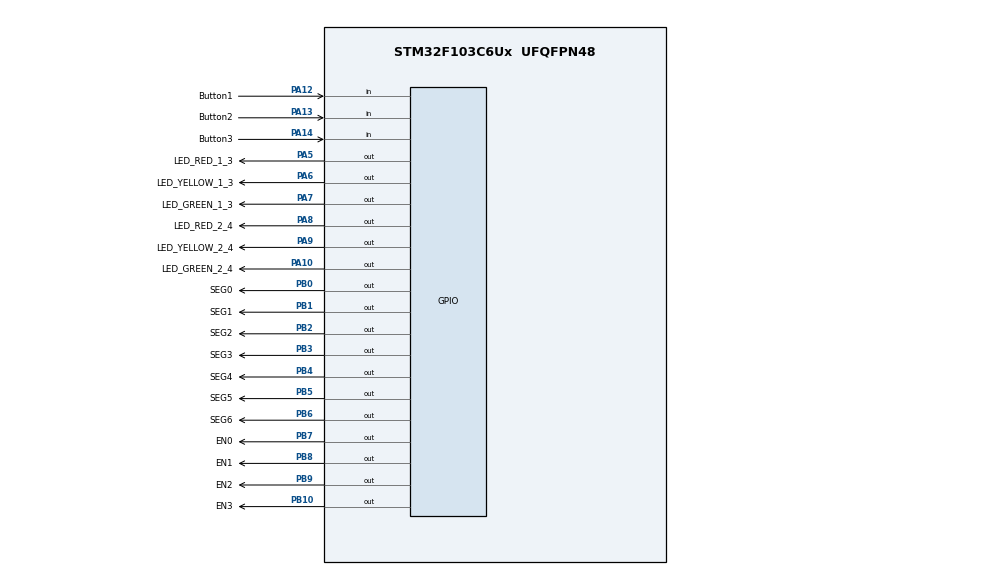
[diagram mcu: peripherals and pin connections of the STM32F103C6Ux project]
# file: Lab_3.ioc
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Mcu.Family=STM32F1
Mcu.Name=STM32F103C6Ux
Mcu.Package=UFQFPN48
NVIC.PriorityGroup=NVIC_PRIORITYGROUP_4
NVIC.TIM2_IRQn=true\:0\:0\:false\:false\:true\:true\:true
PA10.GPIO_Label=LED_GREEN_2_4
PA10.Signal=GPIO_Output
PA12.GPIO_Label=Button1
PA12.GPIO_PuPd=GPIO_PULLUP
PA12.Signal=GPIO_Input
PA13.GPIO_Label=Button2
PA13.GPIO_PuPd=GPIO_PULLUP
PA13.Signal=GPIO_Input
PA14.GPIO_Label=Button3
PA14.GPIO_PuPd=GPIO_PULLUP
PA14.Signal=GPIO_Input
PA5.GPIO_Label=LED_RED_1_3
PA5.Signal=GPIO_Output
PA6.GPIO_Label=LED_YELLOW_1_3
PA6.Signal=GPIO_Output
PA7.GPIO_Label=LED_GREEN_1_3
PA7.Signal=GPIO_Output
PA8.GPIO_Label=LED_RED_2_4
PA8.Signal=GPIO_Output
PA9.GPIO_Label=LED_YELLOW_2_4
PA9.Signal=GPIO_Output
PB0.GPIO_Label=SEG0
PB0.Signal=GPIO_Output
PB1.GPIO_Label=SEG1
PB1.Signal=GPIO_Output
PB10.GPIO_Label=EN3
PB10.Signal=GPIO_Output
PB2.GPIO_Label=SEG2
PB2.Signal=GPIO_Output
PB3.GPIO_Label=SEG3
PB3.Signal=GPIO_Output
PB4.GPIO_Label=SEG4
PB4.Signal=GPIO_Output
PB5.GPIO_Label=SEG5
PB5.Signal=GPIO_Output
PB6.GPIO_Label=SEG6
PB6.Signal=GPIO_Output
PB7.GPIO_Label=EN0
PB7.Signal=GPIO_Output
PB8.GPIO_Label=EN1
PB8.Signal=GPIO_Output
PB9.GPIO_Label=EN2
PB9.Signal=GPIO_Output
ProjectManager.HeapSize=0x200
ProjectManager.StackSize=0x400
ProjectManager.TargetToolchain=STM32CubeIDE
RCC.APB1Freq_Value=8000000
RCC.APB2Freq_Value=8000000
TIM2.Period=9
TIM2.Prescaler=7999
VP_SYS_VS_ND.Mode=No_Debug
VP_TIM2_VS_ClockSourceINT.Mode=Internal
board=custom

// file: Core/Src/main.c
/* USER CODE BEGIN Header */
/**
  ******************************************************************************
  * @file           : main.c
  * @brief          : Main program body
  ******************************************************************************
  * @attention
  *
  * <h2><center>&copy; Copyright (c) 2022 STMicroelectronics.
  * All rights reserved.</center></h2>
  *
  * This software component is licensed by ST under BSD 3-Clause license,
  * the "License"; You may not use this file except in compliance with the
  * License. You may obtain a copy of the License at:
  *                        opensource.org/licenses/BSD-3-Clause
  *
  ******************************************************************************
  */
/* USER CODE END Header */
#include "main.h"

/* USER CODE BEGIN Includes */
#include "button.h"
#include "fsm.h"
#include "fsm_automatic_mode1_run.h"
#include "software_timer.h"
#include "global.h"
/* USER CODE END Includes */

TIM_HandleTypeDef htim2;

void SystemClock_Config(void);
static void MX_GPIO_Init(void);
static void MX_TIM2_Init(void);

int main(void)
{

  /* MCU Configuration--------------------------------------------------------*/

  /* Reset of all peripherals, Initializes the Flash interface and the Systick. */
  HAL_Init();

  /* Configure the system clock */
  SystemClock_Config();

  /* Initialize all configured peripherals */
  MX_GPIO_Init();
  MX_TIM2_Init();
  /* USER CODE BEGIN 2 */
HAL_TIM_Base_Start_IT(&htim2);
  /* USER CODE END 2 */

  /* Infinite loop */
  /* USER CODE BEGIN WHILE */

setTimer1ForTrafficLight(1000);
setTimer2ForEn7seg(1000);
setTimer3ForDisplay(1000);
setTimer4For7segFollowMode(1000);
setTimer5ForToggle(1000);

status = MODE_1;
  while (1)
  {
    /* USER CODE END WHILE */
	  fsm_run();
	  fsm_automatic_mode1_run();

  }
}

void SystemClock_Config(void)
{
  RCC_OscInitTypeDef RCC_OscInitStruct = {0};
  RCC_ClkInitTypeDef RCC_ClkInitStruct = {0};

  /** Initializes the RCC Oscillators according to the specified parameters
  * in the RCC_OscInitTypeDef structure.
  */
  RCC_OscInitStruct.OscillatorType = RCC_OSCILLATORTYPE_HSI;
  RCC_OscInitStruct.HSIState = RCC_HSI_ON;
  RCC_OscInitStruct.HSICalibrationValue = RCC_HSICALIBRATION_DEFAULT;
  RCC_OscInitStruct.PLL.PLLState = RCC_PLL_NONE;
  if (HAL_RCC_OscConfig(&RCC_OscInitStruct) != HAL_OK)
  {
    Error_Handler();
  }
  /** Initializes the CPU, AHB and APB buses clocks
  */
  RCC_ClkInitStruct.ClockType = RCC_CLOCKTYPE_HCLK|RCC_CLOCKTYPE_SYSCLK
                              |RCC_CLOCKTYPE_PCLK1|RCC_CLOCKTYPE_PCLK2;
  RCC_ClkInitStruct.SYSCLKSource = RCC_SYSCLKSOURCE_HSI;
  RCC_ClkInitStruct.AHBCLKDivider = RCC_SYSCLK_DIV1;
  RCC_ClkInitStruct.APB1CLKDivider = RCC_HCLK_DIV1;
  RCC_ClkInitStruct.APB2CLKDivider = RCC_HCLK_DIV1;

  if (HAL_RCC_ClockConfig(&RCC_ClkInitStruct, FLASH_LATENCY_0) != HAL_OK)
  {
    Error_Handler();
  }
}

static void MX_TIM2_Init(void)
{

  TIM_ClockConfigTypeDef sClockSourceConfig = {0};
  TIM_MasterConfigTypeDef sMasterConfig = {0};

  htim2.Instance = TIM2;
  htim2.Init.Prescaler = 7999;
  htim2.Init.CounterMode = TIM_COUNTERMODE_UP;
  htim2.Init.Period = 9;
  htim2.Init.ClockDivision = TIM_CLOCKDIVISION_DIV1;
  htim2.Init.AutoReloadPreload = TIM_AUTORELOAD_PRELOAD_DISABLE;
  if (HAL_TIM_Base_Init(&htim2) != HAL_OK)
  {
    Error_Handler();
  }
  sClockSourceConfig.ClockSource = TIM_CLOCKSOURCE_INTERNAL;
  if (HAL_TIM_ConfigClockSource(&htim2, &sClockSourceConfig) != HAL_OK)
  {
    Error_Handler();
  }
  sMasterConfig.MasterOutputTrigger = TIM_TRGO_RESET;
  sMasterConfig.MasterSlaveMode = TIM_MASTERSLAVEMODE_DISABLE;
  if (HAL_TIMEx_MasterConfigSynchronization(&htim2, &sMasterConfig) != HAL_OK)
  {
    Error_Handler();
  }

}

static void MX_GPIO_Init(void)
{
  GPIO_InitTypeDef GPIO_InitStruct = {0};

  /* GPIO Ports Clock Enable */
  __HAL_RCC_GPIOA_CLK_ENABLE();
  __HAL_RCC_GPIOB_CLK_ENABLE();

  /*Configure GPIO pin Output Level */
  HAL_GPIO_WritePin(GPIOA, LED_RED_1_3_Pin|LED_YELLOW_1_3_Pin|LED_GREEN_1_3_Pin|LED_RED_2_4_Pin
                          |LED_YELLOW_2_4_Pin|LED_GREEN_2_4_Pin, GPIO_PIN_RESET);

  /*Configure GPIO pin Output Level */
  HAL_GPIO_WritePin(GPIOB, SEG0_Pin|SEG1_Pin|SEG2_Pin|EN3_Pin
                          |SEG3_Pin|SEG4_Pin|SEG5_Pin|SEG6_Pin
                          |EN0_Pin|EN1_Pin|EN2_Pin, GPIO_PIN_RESET);

  /*Configure GPIO pins : LED_RED_1_3_Pin LED_YELLOW_1_3_Pin LED_GREEN_1_3_Pin LED_RED_2_4_Pin
                           LED_YELLOW_2_4_Pin LED_GREEN_2_4_Pin */
  GPIO_InitStruct.Pin = LED_RED_1_3_Pin|LED_YELLOW_1_3_Pin|LED_GREEN_1_3_Pin|LED_RED_2_4_Pin
                          |LED_YELLOW_2_4_Pin|LED_GREEN_2_4_Pin;
  GPIO_InitStruct.Mode = GPIO_MODE_OUTPUT_PP;
  GPIO_InitStruct.Pull = GPIO_NOPULL;
  GPIO_InitStruct.Speed = GPIO_SPEED_FREQ_LOW;
  HAL_GPIO_Init(GPIOA, &GPIO_InitStruct);

  /*Configure GPIO pins : SEG0_Pin SEG1_Pin SEG2_Pin EN3_Pin
                           SEG3_Pin SEG4_Pin SEG5_Pin SEG6_Pin
                           EN0_Pin EN1_Pin EN2_Pin */
  GPIO_InitStruct.Pin = SEG0_Pin|SEG1_Pin|SEG2_Pin|EN3_Pin
                          |SEG3_Pin|SEG4_Pin|SEG5_Pin|SEG6_Pin
                          |EN0_Pin|EN1_Pin|EN2_Pin;
  GPIO_InitStruct.Mode = GPIO_MODE_OUTPUT_PP;
  GPIO_InitStruct.Pull = GPIO_NOPULL;
  GPIO_InitStruct.Speed = GPIO_SPEED_FREQ_LOW;
  HAL_GPIO_Init(GPIOB, &GPIO_InitStruct);

  /*Configure GPIO pins : Button1_Pin Button2_Pin Button3_Pin */
  GPIO_InitStruct.Pin = Button1_Pin|Button2_Pin|Button3_Pin;
  GPIO_InitStruct.Mode = GPIO_MODE_INPUT;
  GPIO_InitStruct.Pull = GPIO_PULLUP;
  HAL_GPIO_Init(GPIOA, &GPIO_InitStruct);

}

/* USER CODE BEGIN 4 */
void HAL_TIM_PeriodElapsedCallback(TIM_HandleTypeDef *htim){
	timerRun();
	getKeySelectInput();
	getKeyModifyInput();
	getKeySetValueInput();
}
/* USER CODE END 4 */

void Error_Handler(void)
{
  __disable_irq();
  while (1)
  {
  }
}

/************************ (C) COPYRIGHT STMicroelectronics *****END OF FILE****/
